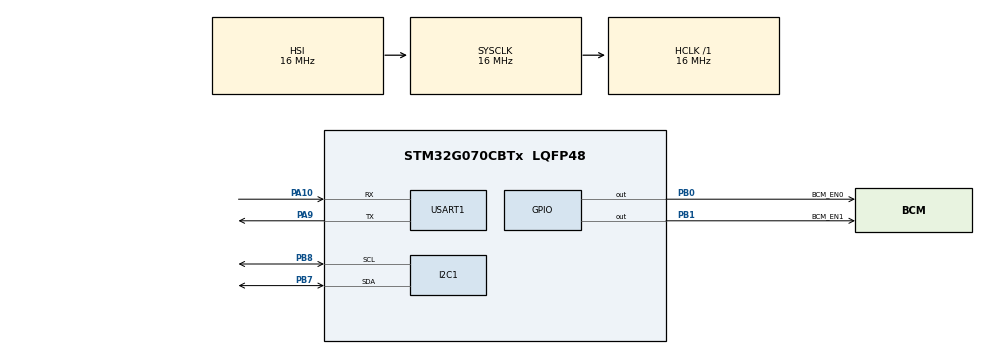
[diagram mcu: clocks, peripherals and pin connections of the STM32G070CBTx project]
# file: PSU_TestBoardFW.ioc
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Mcu.Family=STM32G0
Mcu.Name=STM32G070CBTx
Mcu.Package=LQFP48
NVIC.USART1_IRQn=true\:0\:0\:false\:false\:true\:true\:true\:true
PA10.Mode=Asynchronous
PA10.Signal=USART1_RX
PA9.Mode=Asynchronous
PA9.Signal=USART1_TX
PB0.GPIO_Label=BCM_EN0
PB0.Signal=GPIO_Output
PB1.GPIO_Label=BCM_EN1
PB1.Signal=GPIO_Output
PB7.Mode=I2C
PB7.Signal=I2C1_SDA
PB8.Mode=I2C
PB8.Signal=I2C1_SCL
ProjectManager.HeapSize=0x200
ProjectManager.StackSize=0x400
ProjectManager.TargetToolchain=STM32CubeIDE
RCC.AHBFreq_Value=16000000
RCC.CortexFreq_Value=16000000
RCC.EXTERNAL_CLOCK_VALUE=48000
RCC.HCLKFreq_Value=16000000
RCC.HSE_VALUE=8000000
RCC.HSI_VALUE=16000000
RCC.LSE_VALUE=32768
RCC.SYSCLKFreq_VALUE=16000000
RCC.VCOOutputFreq_Value=128000000
USART1.VirtualMode-Asynchronous=VM_ASYNC
board=custom

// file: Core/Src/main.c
/* USER CODE BEGIN Header */
/**
  ******************************************************************************
  * @file           : main.c
  * @brief          : Main program body
  ******************************************************************************
  * @attention
  *
  * Copyright (c) 2023 STMicroelectronics.
  * All rights reserved.
  *
  * This software is licensed under terms that can be found in the LICENSE file
  * in the root directory of this software component.
  * If no LICENSE file comes with this software, it is provided AS-IS.
  *
  ******************************************************************************
  */
/* USER CODE END Header */
#include "main.h"

I2C_HandleTypeDef hi2c1;

UART_HandleTypeDef huart1;

void SystemClock_Config(void);
static void MX_GPIO_Init(void);
static void MX_I2C1_Init(void);
static void MX_USART1_UART_Init(void);
/* USER CODE BEGIN PFP */
// I2C addresses of BCM supervisor chips. Each communicates with 4 BCMs
typedef enum {BCM_SUP_0_3=0x50, BCM_SUP_4_7=0x51 } bcm_supervisor_t;

typedef enum {
	BCM_PAGE = 0x00,
	BCM_OPERATION = 0x01,
	BCM_CLEAR_FAULTS = 0x03,
	BCM_STATUS_BYTE = 0x78,
	BCM_STATUS_WORD = 0x79,
	BCM_STATUS_MFR_SPECIFIC = 0x80,
	BCM_READ_VIN = 0x88,
	BCM_READ_IIN = 0x89,
	BCM_READ_VOUT = 0x8B,
	BCM_READ_IOUT = 0x8C,
	BCM_TEMP_1 = 0x8D,
	BCM_MFR_ID = 0x99,
	BCM_MFR_MODEL = 0x9a,
	BCM_SERIAL = 0x9e,
	BCM_DISABLE_FAULT = 0xD7,
} bcm_cmd_t;

/* USER CODE END PFP */

int main(void)
{

  /* MCU Configuration--------------------------------------------------------*/

  /* Reset of all peripherals, Initializes the Flash interface and the Systick. */
  HAL_Init();

  /* Configure the system clock */
  SystemClock_Config();

  /* Initialize all configured peripherals */
  MX_GPIO_Init();
  MX_I2C1_Init();
  MX_USART1_UART_Init();

  /* Infinite loop */
  while (1)
  {

    /* USER CODE BEGIN 3 */
	HAL_GPIO_WritePin(GPIOB, BCM_EN0_Pin|BCM_EN1_Pin, GPIO_PIN_SET);
	/*HAL_Delay(100);
	HAL_GPIO_WritePin(GPIOB, BCM_EN0_Pin|BCM_EN1_Pin, GPIO_PIN_RESET);
	HAL_Delay(100);*/
  }
  /* USER CODE END 3 */
}

void SystemClock_Config(void)
{
  RCC_OscInitTypeDef RCC_OscInitStruct = {0};
  RCC_ClkInitTypeDef RCC_ClkInitStruct = {0};

  /** Configure the main internal regulator output voltage
  */
  HAL_PWREx_ControlVoltageScaling(PWR_REGULATOR_VOLTAGE_SCALE1);

  /** Initializes the RCC Oscillators according to the specified parameters
  * in the RCC_OscInitTypeDef structure.
  */
  RCC_OscInitStruct.OscillatorType = RCC_OSCILLATORTYPE_HSI;
  RCC_OscInitStruct.HSIState = RCC_HSI_ON;
  RCC_OscInitStruct.HSIDiv = RCC_HSI_DIV1;
  RCC_OscInitStruct.HSICalibrationValue = RCC_HSICALIBRATION_DEFAULT;
  RCC_OscInitStruct.PLL.PLLState = RCC_PLL_NONE;
  if (HAL_RCC_OscConfig(&RCC_OscInitStruct) != HAL_OK)
  {
    Error_Handler();
  }

  /** Initializes the CPU, AHB and APB buses clocks
  */
  RCC_ClkInitStruct.ClockType = RCC_CLOCKTYPE_HCLK|RCC_CLOCKTYPE_SYSCLK
                              |RCC_CLOCKTYPE_PCLK1;
  RCC_ClkInitStruct.SYSCLKSource = RCC_SYSCLKSOURCE_HSI;
  RCC_ClkInitStruct.AHBCLKDivider = RCC_SYSCLK_DIV1;
  RCC_ClkInitStruct.APB1CLKDivider = RCC_HCLK_DIV1;

  if (HAL_RCC_ClockConfig(&RCC_ClkInitStruct, FLASH_LATENCY_0) != HAL_OK)
  {
    Error_Handler();
  }
}

static void MX_I2C1_Init(void)
{

  hi2c1.Instance = I2C1;
  hi2c1.Init.Timing = 0x00303D5B;
  hi2c1.Init.OwnAddress1 = 0;
  hi2c1.Init.AddressingMode = I2C_ADDRESSINGMODE_7BIT;
  hi2c1.Init.DualAddressMode = I2C_DUALADDRESS_DISABLE;
  hi2c1.Init.OwnAddress2 = 0;
  hi2c1.Init.OwnAddress2Masks = I2C_OA2_NOMASK;
  hi2c1.Init.GeneralCallMode = I2C_GENERALCALL_DISABLE;
  hi2c1.Init.NoStretchMode = I2C_NOSTRETCH_DISABLE;
  if (HAL_I2C_Init(&hi2c1) != HAL_OK)
  {
    Error_Handler();
  }

  /** Configure Analogue filter
  */
  if (HAL_I2CEx_ConfigAnalogFilter(&hi2c1, I2C_ANALOGFILTER_ENABLE) != HAL_OK)
  {
    Error_Handler();
  }

  /** Configure Digital filter
  */
  if (HAL_I2CEx_ConfigDigitalFilter(&hi2c1, 0) != HAL_OK)
  {
    Error_Handler();
  }

}

static void MX_USART1_UART_Init(void)
{

  huart1.Instance = USART1;
  huart1.Init.BaudRate = 115200;
  huart1.Init.WordLength = UART_WORDLENGTH_8B;
  huart1.Init.StopBits = UART_STOPBITS_1;
  huart1.Init.Parity = UART_PARITY_NONE;
  huart1.Init.Mode = UART_MODE_TX_RX;
  huart1.Init.HwFlowCtl = UART_HWCONTROL_NONE;
  huart1.Init.OverSampling = UART_OVERSAMPLING_16;
  huart1.Init.OneBitSampling = UART_ONE_BIT_SAMPLE_DISABLE;
  huart1.Init.ClockPrescaler = UART_PRESCALER_DIV1;
  huart1.AdvancedInit.AdvFeatureInit = UART_ADVFEATURE_NO_INIT;
  if (HAL_UART_Init(&huart1) != HAL_OK)
  {
    Error_Handler();
  }
  if (HAL_UARTEx_SetTxFifoThreshold(&huart1, UART_TXFIFO_THRESHOLD_1_8) != HAL_OK)
  {
    Error_Handler();
  }
  if (HAL_UARTEx_SetRxFifoThreshold(&huart1, UART_RXFIFO_THRESHOLD_1_8) != HAL_OK)
  {
    Error_Handler();
  }
  if (HAL_UARTEx_DisableFifoMode(&huart1) != HAL_OK)
  {
    Error_Handler();
  }

}

static void MX_GPIO_Init(void)
{
  GPIO_InitTypeDef GPIO_InitStruct = {0};

  /* GPIO Ports Clock Enable */
  __HAL_RCC_GPIOB_CLK_ENABLE();
  __HAL_RCC_GPIOA_CLK_ENABLE();

  /*Configure GPIO pin Output Level */
  HAL_GPIO_WritePin(GPIOB, BCM_EN0_Pin|BCM_EN1_Pin, GPIO_PIN_RESET);

  /*Configure GPIO pins : BCM_EN0_Pin BCM_EN1_Pin */
  GPIO_InitStruct.Pin = BCM_EN0_Pin|BCM_EN1_Pin;
  GPIO_InitStruct.Mode = GPIO_MODE_OUTPUT_PP;
  GPIO_InitStruct.Pull = GPIO_NOPULL;
  GPIO_InitStruct.Speed = GPIO_SPEED_FREQ_LOW;
  HAL_GPIO_Init(GPIOB, &GPIO_InitStruct);

}

void Error_Handler(void)
{
  __disable_irq();
  while (1)
  {
  }
}
